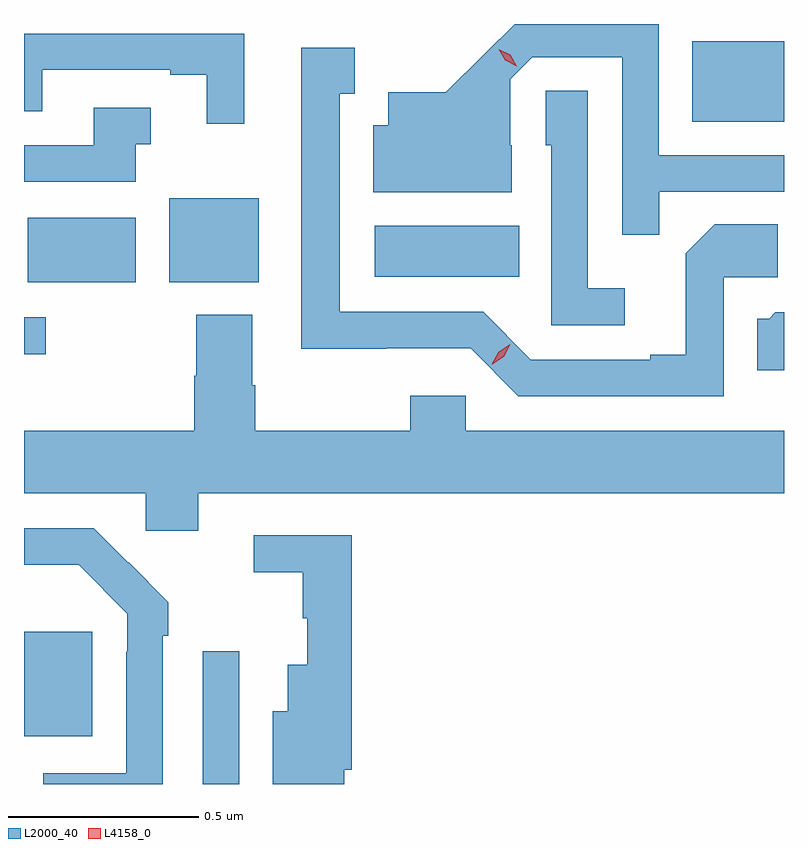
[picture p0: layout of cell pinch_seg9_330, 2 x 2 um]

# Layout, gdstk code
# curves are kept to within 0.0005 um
import gdstk
lib = gdstk.Library(unit=1e-6, precision=1e-09)
def R(c, l, rs):  # rectangles x0, y0, x1, y1
    for r in rs: c.add(gdstk.rectangle(r[:2], r[2:], *l))
def P(c, l, *ps):  # polygons
    for p in ps: c.add(gdstk.Polygon(p, *l))
L2000_40 = (2000, 40)
L4158_0 = (4158, 0)

pinch_seg9_330 = lib.new_cell('pinch_seg9_330')
R(pinch_seg9_330, L2000_40, [(605.343,1204.979,605.439,1205.329), (604.873,1205.105,605.053,1205.38), (604.873,1206.11,604.93,1206.207), (604.883,1206.299,605.167,1206.469), (605.255,1206.299,605.491,1206.52), (605.796,1206.314,606.176,1206.448), (606.632,1206.722,606.873,1206.934)])
P(pinch_seg9_330, L2000_40, [(606.545,1206.537),(606.873,1206.537),(606.873,1206.633),(606.543,1206.633),(606.543,1206.979),(606.165,1206.979),(605.983,1206.799),(605.831,1206.799),(605.831,1206.712),(605.792,1206.712),(605.792,1206.536),(606.157,1206.536),(606.157,1206.66),(606.153,1206.66),(606.153,1206.834),(606.21,1206.891),(606.447,1206.891),(606.447,1206.424),(606.545,1206.424)],
  [(605.452,1206.954),(604.873,1206.954),(604.873,1206.749),(604.921,1206.749),(604.921,1206.858),(605.258,1206.858),(605.258,1206.846),(605.354,1206.846),(605.354,1206.717),(605.452,1206.717)],
  [(606.714,1206.312),(606.856,1206.312),(606.856,1206.452),(606.691,1206.452),(606.615,1206.376),(606.615,1206.109),(606.521,1206.109),(606.521,1206.096),(606.207,1206.096),(606.081,1206.222),(605.704,1206.222),(605.704,1206.795),(605.743,1206.795),(605.743,1206.916),(605.603,1206.916),(605.603,1206.125),(605.826,1206.125),(605.826,1206.126),(606.048,1206.126),(606.174,1206),(606.714,1206)],
  [(606.454,1206.283),(606.357,1206.283),(606.357,1206.803),(606.246,1206.803),(606.246,1206.66),(606.261,1206.66),(606.261,1206.186),(606.454,1206.186)],
  [(605.167,1206.662),(605.206,1206.662),(605.206,1206.759),(605.057,1206.759),(605.057,1206.66),(604.873,1206.66),(604.873,1206.564),(605.167,1206.564)],
  [(606.873,1206.22),(606.85,1206.22),(606.834,1206.204),(606.803,1206.204),(606.803,1206.068),(606.873,1206.068)],
  [(605.332,1205.744),(606.873,1205.744),(606.873,1205.908),(606.036,1205.908),(606.036,1206.001),(605.89,1206.001),(605.89,1205.908),(605.481,1205.908),(605.481,1206.029),(605.473,1206.029),(605.473,1206.214),(605.326,1206.214),(605.326,1206.053),(605.321,1206.053),(605.321,1205.908),(604.873,1205.908),(604.873,1205.744),(605.193,1205.744),(605.193,1205.646),(605.332,1205.646)],
  [(605.238,1205.369),(605.253,1205.369),(605.253,1205.457),(605.148,1205.562),(605.147,1205.561),(605.056,1205.652),(604.873,1205.652),(604.873,1205.556),(605.017,1205.556),(605.145,1205.427),(605.145,1205.327),(605.142,1205.327),(605.142,1205.007),(604.923,1205.007),(604.923,1204.979),(605.238,1204.979)],
  [(605.716,1205.017),(605.735,1205.017),(605.735,1205.634),(605.478,1205.634),(605.478,1205.536),(605.607,1205.536),(605.607,1205.415),(605.618,1205.415),(605.618,1205.293),(605.567,1205.293),(605.567,1205.17),(605.528,1205.17),(605.528,1204.979),(605.716,1204.979)])
P(pinch_seg9_330, L4158_0, [(606.17,1206.868),(606.139,1206.883),(606.122,1206.912),(606.122,1206.913),(606.122,1206.913),(606.153,1206.898),(606.17,1206.868),(606.17,1206.868)],
  [(606.104,1206.084),(606.104,1206.084),(606.122,1206.117),(606.153,1206.136),(606.153,1206.136),(606.153,1206.136),(606.136,1206.103),(606.105,1206.084)])

lib.write_gds('pinch_seg9_330.gds')
